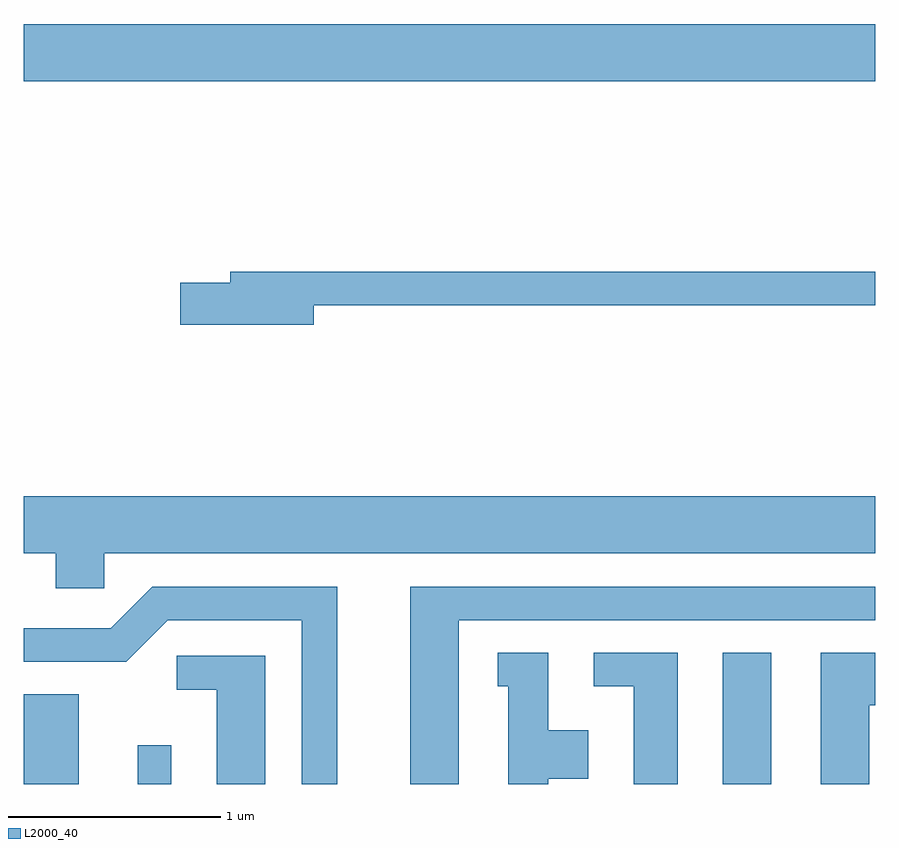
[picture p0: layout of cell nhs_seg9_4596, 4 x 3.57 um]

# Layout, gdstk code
import gdstk
lib = gdstk.Library(unit=1e-6, precision=1e-09)
def R(c, l, rs):  # rectangles x0, y0, x1, y1
    for r in rs: c.add(gdstk.rectangle(r[:2], r[2:], *l))
def P(c, l, *ps):  # polygons
    for p in ps: c.add(gdstk.Polygon(p, *l))
L2000_40 = (2000, 40)

nhs_seg9_4596 = lib.new_cell('nhs_seg9_4596')
R(nhs_seg9_4596, L2000_40, [(319.611,2068.432,319.869,2068.854), (320.146,2068.432,320.304,2068.613), (322.896,2068.432,323.124,2069.049), (319.611,2071.736,323.611,2072.004)])
P(nhs_seg9_4596, L2000_40, [(320.974,2070.681),(323.611,2070.681),(323.611,2070.839),(320.581,2070.839),(320.581,2070.789),(320.346,2070.789),(320.346,2070.591),(320.974,2070.591)],
  [(319.989,2069.516),(323.611,2069.516),(323.611,2069.784),(319.611,2069.784),(319.611,2069.516),(319.761,2069.516),(319.761,2069.351),(319.989,2069.351)],
  [(321.084,2069.359),(320.214,2069.359),(320.019,2069.164),(319.611,2069.164),(319.611,2069.006),(320.092,2069.006),(320.287,2069.201),(320.916,2069.201),(320.916,2068.432),(321.084,2068.432)],
  [(321.654,2069.201),(323.611,2069.201),(323.611,2069.359),(321.426,2069.359),(321.426,2068.432),(321.654,2068.432)],
  [(322.684,2069.049),(322.288,2069.049),(322.288,2068.891),(322.476,2068.891),(322.476,2068.432),(322.684,2068.432)],
  [(323.584,2068.801),(323.611,2068.801),(323.611,2069.049),(323.356,2069.049),(323.356,2068.432),(323.584,2068.432)],
  [(322.074,2068.456),(322.264,2068.456),(322.264,2068.684),(322.074,2068.684),(322.074,2069.049),(321.838,2069.049),(321.838,2068.891),(321.886,2068.891),(321.886,2068.432),(322.074,2068.432)],
  [(320.744,2069.034),(320.328,2069.034),(320.328,2068.876),(320.516,2068.876),(320.516,2068.432),(320.744,2068.432)])

lib.write_gds('nhs_seg9_4596.gds')
